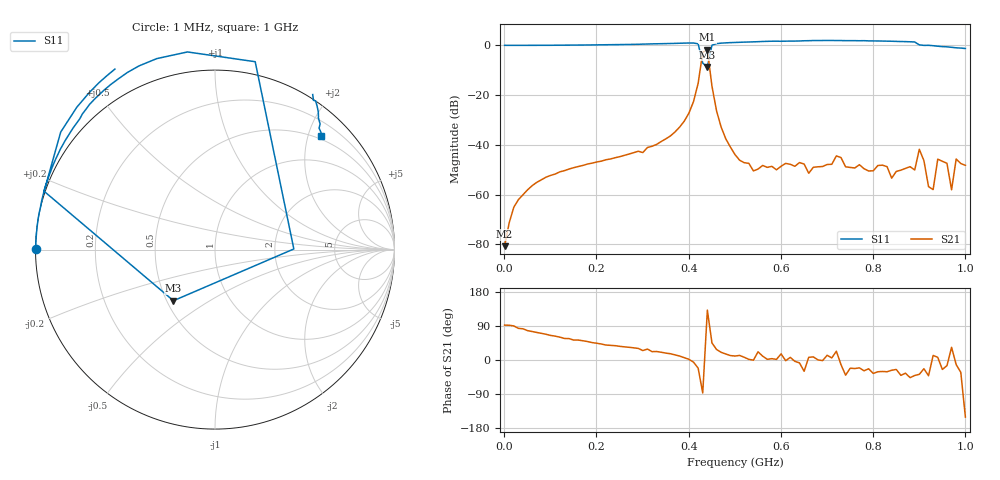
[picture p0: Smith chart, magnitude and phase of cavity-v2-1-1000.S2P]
!File created by NanoVNA
# Hz S RI R 50
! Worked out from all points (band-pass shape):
!   101 points, 1 MHz to 1 GHz, reference 50 ohm
!   highest |S21| = -1.81 dB at 440.6 MHz (marker M1); lowest = -80.7 dB at 1 MHz (marker M2)
!   |S21| within 3 dB of the highest: 428.9 MHz to 442.6 MHz (13.67 MHz wide, 3.14 % of centre)
!   lowest |S11| = -8.7 dB at 440.6 MHz (marker M3), VSWR 2.16, Z = 27.1 - j17.8 ohm
!   |S11| at or under -10 dB: nowhere
!   S12 and S22 are empty: the file has one direction only
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1000000  -0.9994 0.00259  -3.45e-06 9.24e-05  0 0  0 0
2.098e7  -0.9971 0.0543  9.85e-07 0.000561  0 0  0 0
5.095e7  -0.9906 0.1308  0.000274 0.00123  0 0  0 0
1.7083e8  -0.9164 0.4335  0.00245 0.003  0 0  0 0
3.4066e8  -0.6447 0.8638  0.011 0.00409  0 0  0 0
4.006e8  -0.3244 1.064  0.0434 0.00139  0 0  0 0
4.2058e8  0.2239 1.047  0.1605 -0.063  0 0  0 0
4.3057e8  0.4392 0.0035  0.0378 -0.7256  0 0  0 0
4.4056e8  -0.2315 -0.2848  -0.5395 0.6064  0 0  0 0
4.5055e8  -0.9522 0.325  0.1068 0.1068  0 0  0 0
5.005e8  -0.5993 0.9714  0.00629 0.00116  0 0  0 0
6.7033e8  -0.0253 1.247  0.00352 0.000506  0 0  0 0
7.2028e8  0.1521 1.237  0.00553 0.00236  0 0  0 0
8.4016e8  0.4887 1.104  0.00191 -0.000975  0 0  0 0
8.9011e8  0.5898 1.008  0.00237 -0.00205  0 0  0 0
9.001e8  0.5445 0.8636  0.00645 -0.005  0 0  0 0
9.3007e8  0.5685 0.8009  0.00124 0.000263  0 0  0 0
9.4006e8  0.5755 0.7679  0.00513 0.00064  0 0  0 0
9.6004e8  0.576 0.7343  0.00412 -0.0011  0 0  0 0
9.7003e8  0.5856 0.7002  0.00104 0.000693  0 0  0 0
9.8002e8  0.5799 0.6767  0.00509 -0.00108  0 0  0 0
1e9  0.59 0.6301  -0.00338 -0.0019  0 0  0 0
